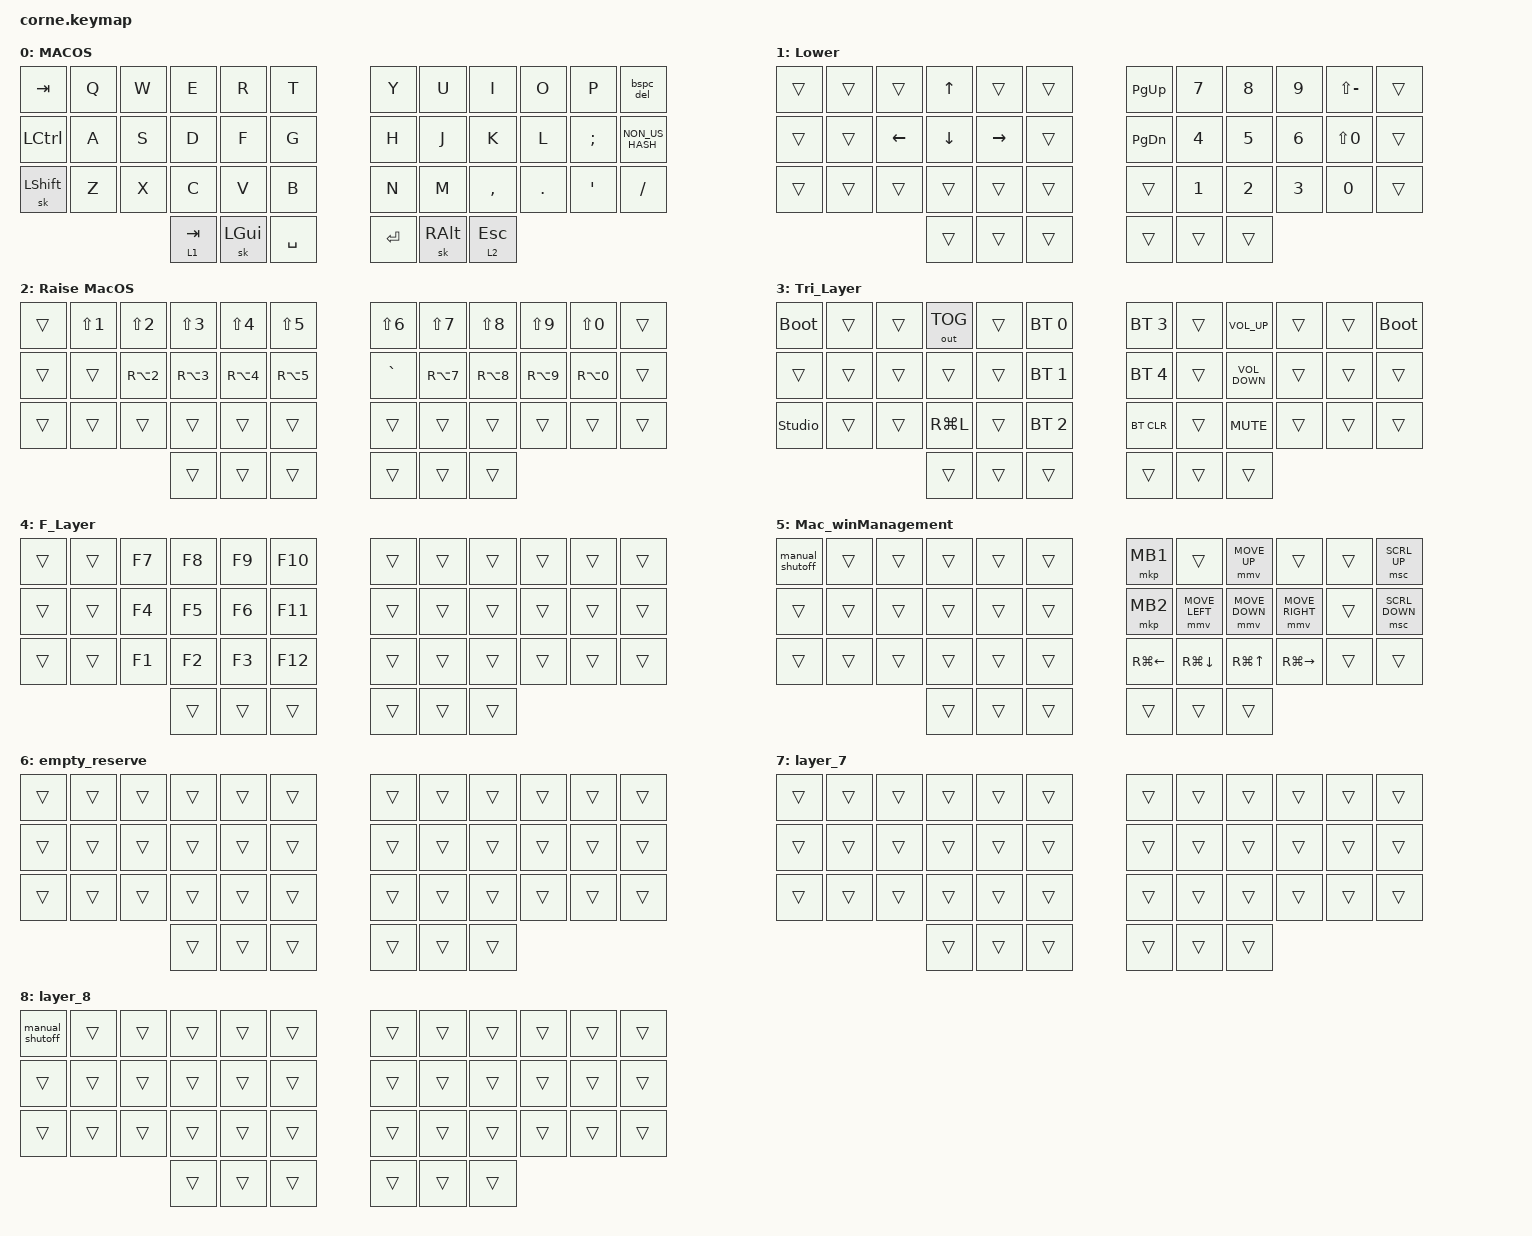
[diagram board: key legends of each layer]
/*
 * Copyright (c) 2020 The ZMK Contributors
 *
 * SPDX-License-Identifier: MIT
 */

#include <behaviors.dtsi>
#include <dt-bindings/zmk/bt.h>
#include <dt-bindings/zmk/keys.h>
#include <dt-bindings/zmk/outputs.h>
#include <dt-bindings/zmk/pointing.h>

/ {
    combos {
        compatible = "zmk,combos";

        copy_mac {
            bindings = <&kp RG(C)>;
            key-positions = <26 27>;
            layers = <0>;
            timeout-ms = <10>;
        };

        paste_mac {
            bindings = <&kp LG(V)>;
            key-positions = <28 27>;
            layers = <0>;
            timeout-ms = <10>;
        };

        cut_mac {
            bindings = <&kp LG(X)>;
            key-positions = <26 28>;
            timeout-ms = <10>;
            layers = <0>;
        };

        undo_mac {
            bindings = <&kp LG(Z)>;
            key-positions = <25 26>;
            layers = <0>;
            timeout-ms = <10>;
        };

        enter {
            bindings = <&kp ENTER>;
            key-positions = <19 20 21>;
            timeout-ms = <10>;
        };

        mac_left_parenthese {
            bindings = <&kp LS(N8)>;
            key-positions = <8 7>;
            timeout-ms = <10>;
            layers = <0>;
        };

        mac_right_parenthese {
            bindings = <&kp LS(N9)>;
            key-positions = <8 9>;
            timeout-ms = <10>;
            layers = <0>;
        };

        mac_left_sqr_bracket {
            bindings = <&kp RA(N8)>;
            key-positions = <19 20>;
            timeout-ms = <10>;
            layers = <0>;
        };

        mac_right_sqr_bracket {
            bindings = <&kp RA(N9)>;
            key-positions = <20 21>;
            timeout-ms = <100>;
            layers = <0>;
        };

        mac_left_bracket {
            bindings = <&kp LS(RA(N8))>;
            key-positions = <32 31>;
            timeout-ms = <10>;
            layers = <0>;
        };

        mac_right_bracket {
            bindings = <&kp LS(RA(N9))>;
            key-positions = <32 33>;
            timeout-ms = <10>;
            layers = <0>;
        };

        f_layer {
            bindings = <&mo 4>;
            key-positions = <40 41>;
            timeout-ms = <200>;
        };

        winManagement_layer {
            bindings = <&mo 5>;
            key-positions = <36 37>;
            layers = <0>;
            timeout-ms = <200>;
        };

        mac_right_angle_bracket {
            bindings = <&kp LS(GRAVE)>;
            key-positions = <21 22>;
            timeout-ms = <10>;
            layers = <0>;
        };

        mac_left_angle_bracket {
            bindings = <&kp GRAVE>;
            key-positions = <9 10>;
            timeout-ms = <10>;
            layers = <0>;
        };

        semicolon {
            bindings = <&kp LS(PERIOD)>;
            key-positions = <34 33>;
            timeout-ms = <10>;
            layers = <0>;
        };
    };

    behaviors {
        bspc_del: bspc_del {
            compatible = "zmk,behavior-mod-morph";
            label = "BSPC_DEL";
            bindings = <&kp BACKSPACE>, <&kp DEL>;

            #binding-cells = <0>;
            mods = <(MOD_LSFT|MOD_RSFT)>;
        };

        mod_dance: mod_dance {
            compatible = "zmk,behavior-tap-dance";
            label = "MOD_DANCE";
            #binding-cells = <0>;
            bindings = <&sk LGUI>, <&sk LCTRL>;

            tapping-term-ms = <500>;
        };

        manual_shutoff: manual_shutoff {
            compatible = "zmk,behavior-soft-off";
            label = "MANUAL_SHUTOFF";
            #binding-cells = <0>;
            hold-time-ms = <500>;
        };
    };

    keymap {
        compatible = "zmk,keymap";

        MacOS {
            display-name = "MACOS";
            bindings = <
&kp TAB           &kp Q  &kp W  &kp E      &kp R         &kp T        &kp Y      &kp U          &kp I      &kp O    &kp P     &bspc_del
&kp LEFT_CONTROL  &kp A  &kp S  &kp D      &kp F         &kp G        &kp H      &kp J          &kp K      &kp L    &kp SEMI  &kp NON_US_HASH
&sk LEFT_SHIFT    &kp Z  &kp X  &kp C      &kp V         &kp B        &kp N      &kp M          &kp COMMA  &kp DOT  &kp SQT   &kp SLASH
                                &lt 1 TAB  &sk LEFT_GUI  &kp SPACE    &kp ENTER  &sk RIGHT_ALT  &lt 2 ESC
            >;
        };

        lower_layer {
            // -----------------------------------------------------------------------------------------
            // |  TAB |  1  |  2  |  3  |  4  |  5  |   |  6  |  7  |  8  |  9  |  0  | BKSP |
            // | BTCLR| BT1 | BT2 | BT3 | BT4 | BT5 |   | LFT | DWN |  UP | RGT |     |      |
            // | SHFT |     |     |     |     |     |   |     |     |     |     |     |      |
            //                    | GUI |     | SPC |   | ENT |     | ALT |

            display-name = "Lower";
            bindings = <
&trans  &trans  &trans          &kp UP_ARROW    &trans           &trans    &kp PAGE_UP    &kp N7  &kp N8  &kp N9  &kp LS(MINUS)  &trans
&trans  &trans  &kp LEFT_ARROW  &kp DOWN_ARROW  &kp RIGHT_ARROW  &trans    &kp PAGE_DOWN  &kp N4  &kp N5  &kp N6  &kp LS(N0)     &trans
&trans  &trans  &trans          &trans          &trans           &trans    &trans         &kp N1  &kp N2  &kp N3  &kp N0         &trans
                                &trans          &trans           &trans    &trans         &trans  &trans
            >;
        };

        raise_macOS {
            display-name = "Raise MacOS";
            bindings = <
&trans  &kp LS(NUMBER_1)  &kp LS(NUMBER_2)  &kp LS(NUMBER_3)  &kp LS(NUMBER_4)  &kp LS(N5)    &kp LS(NUMBER_6)  &kp LS(N7)  &kp LS(N8)  &kp LS(N9)  &kp LS(N0)        &trans
&trans  &trans            &kp RA(NUMBER_2)  &kp RA(NUMBER_3)  &kp RA(NUMBER_4)  &kp RA(N5)    &kp GRAVE         &kp RA(N7)  &kp RA(N8)  &kp RA(N9)  &kp RA(NUMBER_0)  &trans
&trans  &trans            &trans            &trans            &trans            &trans        &trans            &trans      &trans      &trans      &trans            &trans
                                            &trans            &trans            &trans        &trans            &trans      &trans
            >;
        };

        tri_layer {
            bindings = <
&bootloader     &trans  &trans  &out OUT_TOG  &trans  &bt BT_SEL 0    &bt BT_SEL 3  &trans  &kp C_VOLUME_UP    &trans  &trans  &bootloader
&trans          &trans  &trans  &trans        &trans  &bt BT_SEL 1    &bt BT_SEL 4  &trans  &kp C_VOLUME_DOWN  &trans  &trans  &trans
&studio_unlock  &trans  &trans  &kp RG(L)     &trans  &bt BT_SEL 2    &bt BT_CLR    &trans  &kp K_MUTE         &trans  &trans  &trans
                                &trans        &trans  &trans          &trans        &trans  &trans
            >;

            label = "Tri_Layer";
        };

        F_layer {
            bindings = <
&trans  &trans  &kp F7  &kp F8  &kp F9  &kp F10    &trans  &trans  &trans  &trans  &trans  &trans
&trans  &trans  &kp F4  &kp F5  &kp F6  &kp F11    &trans  &trans  &trans  &trans  &trans  &trans
&trans  &trans  &kp F1  &kp F2  &kp F3  &kp F12    &trans  &trans  &trans  &trans  &trans  &trans
                        &trans  &trans  &trans     &trans  &trans  &trans
            >;

            label = "F_Layer";
        };

        MAC_winManagement {
            label = "Mac_winManagement";
            bindings = <
&manual_shutoff  &trans  &trans  &trans  &trans  &trans    &mkp MB1      &trans          &mmv MOVE_UP      &trans           &trans  &msc SCRL_UP
&trans           &trans  &trans  &trans  &trans  &trans    &mkp MB2      &mmv MOVE_LEFT  &mmv MOVE_DOWN    &mmv MOVE_RIGHT  &trans  &msc SCRL_DOWN
&trans           &trans  &trans  &trans  &trans  &trans    &kp RG(LEFT)  &kp RG(DOWN)    &kp RG(UP_ARROW)  &kp RG(RIGHT)    &trans  &trans
                                 &trans  &trans  &trans    &trans        &trans          &trans
            >;
        };

        empty_reserve {
            bindings = <
&trans  &trans  &trans  &trans  &trans  &trans    &trans  &trans  &trans  &trans  &trans  &trans
&trans  &trans  &trans  &trans  &trans  &trans    &trans  &trans  &trans  &trans  &trans  &trans
&trans  &trans  &trans  &trans  &trans  &trans    &trans  &trans  &trans  &trans  &trans  &trans
                        &trans  &trans  &trans    &trans  &trans  &trans
            >;
        };

        layer_7 {
            bindings = <
&trans  &trans  &trans  &trans  &trans  &trans    &trans  &trans  &trans  &trans  &trans  &trans
&trans  &trans  &trans  &trans  &trans  &trans    &trans  &trans  &trans  &trans  &trans  &trans
&trans  &trans  &trans  &trans  &trans  &trans    &trans  &trans  &trans  &trans  &trans  &trans
                        &trans  &trans  &trans    &trans  &trans  &trans
            >;
        };

        layer_8 {
            bindings = <
&manual_shutoff  &trans  &trans  &trans  &trans  &trans    &trans  &trans  &trans  &trans  &trans  &trans
&trans           &trans  &trans  &trans  &trans  &trans    &trans  &trans  &trans  &trans  &trans  &trans
&trans           &trans  &trans  &trans  &trans  &trans    &trans  &trans  &trans  &trans  &trans  &trans
                                 &trans  &trans  &trans    &trans  &trans  &trans
            >;
        };
    };

    conditional_layers {
        compatible = "zmk,conditional-layers";

        tri_layer {
            if-layers = <1 2>;
            then-layer = <3>;
        };

        Reserved_layer {
            if-layers = <4 5>;
            then-layer = <6>;
        };

        Layer7 {
            if-layers = <5 2>;
            then-layer = <7>;
        };

        Layer8 {
            if-layers = <4 1>;
            then-layer = <8>;
        };
    };
};
